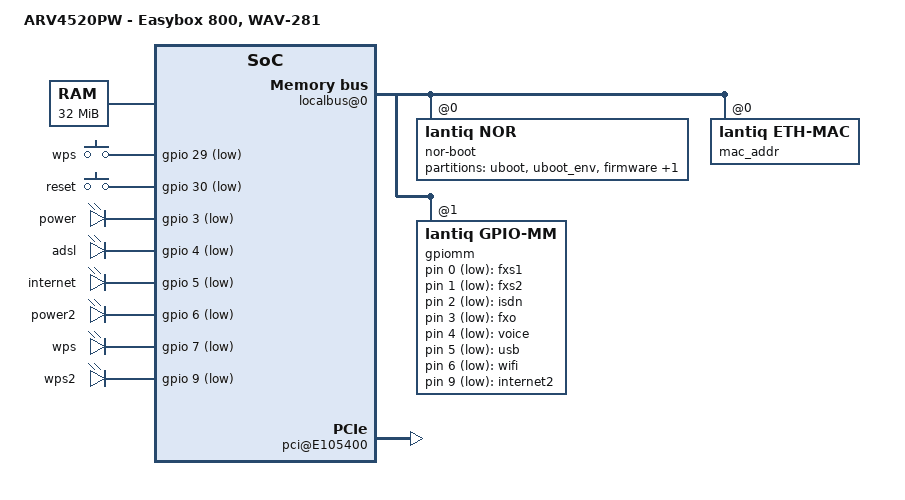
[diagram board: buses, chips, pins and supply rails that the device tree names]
/dts-v1/;

/include/ "danube.dtsi"

/ {
	model = "ARV4520PW - Easybox 800, WAV-281";

	chosen {
		bootargs = "console=ttyLTQ0,115200 init=/etc/preinit";
	};

	memory@0 {
		reg = <0x0 0x2000000>;
	};

	sram@1F000000 {
		vmmc@107000 {
			status = "okay";
			gpios = <&gpio 31 0
				&gpiomm 7 0>;
		};
	};

	fpi@10000000 {
		localbus@0 {
			nor-boot@0 {
				compatible = "lantiq,nor";
				bank-width = <2>;
				reg = <0 0x0 0x800000>;
				#address-cells = <1>;
				#size-cells = <1>;

				partition@0 {
					label = "uboot";
					reg = <0x00000 0x20000>;
					read-only;
				};

				partition@20000 {
					label = "uboot_env";
					reg = <0x20000 0x10000>;
					read-only;
				};

				partition@30000 {
					label = "firmware";
					reg = <0x30000 0x3c0000>;
				};

				partition@7f0000 {
					label = "boardconfig";
					reg = <0x3f0000 0x10000>;
					read-only;
				};
			};

			mac_addr {
				compatible = "lantiq,eth-mac";
				reg = <0 0x3f0016 0x6>;
				mac-increment = <2>;
			};

			gpiomm: gpiomm@4000000 {
				compatible = "lantiq,gpio-mm";
				reg = <1 0x0 0x10 >;
				#address-cells = <1>;
				#size-cells = <1>;
				#gpio-cells = <2>;
				gpio-controller;
				lantiq,shadow = <0x400>;
			};
		};

		gpio: pinmux@E100B10 {
			pinctrl-names = "default";
			pinctrl-0 = <&state_default>;

			state_default: pinmux {
				ebu {
					lantiq,groups = "ebu cs1";
					lantiq,function = "ebu";
				};
				pci_in {
					lantiq,groups = "req1";
					lantiq,function = "pci";
					lantiq,open-drain = <1>;
					lantiq,pull = <2>;
					lantiq,output = <0>;
				};
				pci_out {
					lantiq,groups = "gnt1";
					lantiq,function = "pci";
					lantiq,output = <1>;
				};
				pci_rst {
					lantiq,pins = "io21";
					lantiq,open-drain = <0>;
					lantiq,pull = <0>;
				};
			};
		};

		etop@E180000 {
			phy-mode = "rmii";
		};

		ifxhcd@E101000 {
			status = "okay";
                        gpios = <&gpio 28 0>;
		};

		pci@E105400 {
			status = "okay";
			lantiq,external-clock;
			gpio-reset = <&gpio 21 0>;
		};

	};

// gpiomm 10 - switch

	gpio-keys-polled {
		compatible = "gpio-keys-polled";
		#address-cells = <1>;
		#size-cells = <0>;
		poll-interval = <100>;

		rfkill {
			label = "wps";
			gpios = <&gpio 29 1>;
			linux,code = <0x211>;
		};
		reset {
			label = "reset";
			gpios = <&gpio 30 1>;
			linux,code = <0x198>;
		};
	};

	gpio-leds {
		compatible = "gpio-leds";

		power {
			label = "power";
			gpios = <&gpio 3 1>;
		};
		adsl {
			label = "adsl";
			gpios = <&gpio 4 1>;
		};
		internet {
			label = "internet";
			gpios = <&gpio 5 1>;
		};
		power2 {
			label = "power2";
			gpios = <&gpio 6 1>;
		};
		wps {
			label = "wps";
			gpios = <&gpio 7 1>;
		};
		wps2 {
			label = "wps2";
			gpios = <&gpio 9 1>;
		};
		fxs1 {
			label = "fxs1";
			gpios = <&gpiomm 0 1>;
		};
		fxs2 {
			label = "fxs2";
			gpios = <&gpiomm 1 1>;
		};
		isdn {
			label = "isdn";
			gpios = <&gpiomm 2 1>;
		};
		fxo {
			label = "fxo";
			gpios = <&gpiomm 3 1>;
		};
		voice {
			label = "voice";
			gpios = <&gpiomm 4 1>;
		};
		usb {
			label = "usb";
			gpios = <&gpiomm 5 1>;
		};
		wifi {
			label = "wifi";
			gpios = <&gpiomm 6 1>;
		};
		internet2 {
			label = "internet2";
			gpios = <&gpiomm 9 1>;
		};
	};
};
